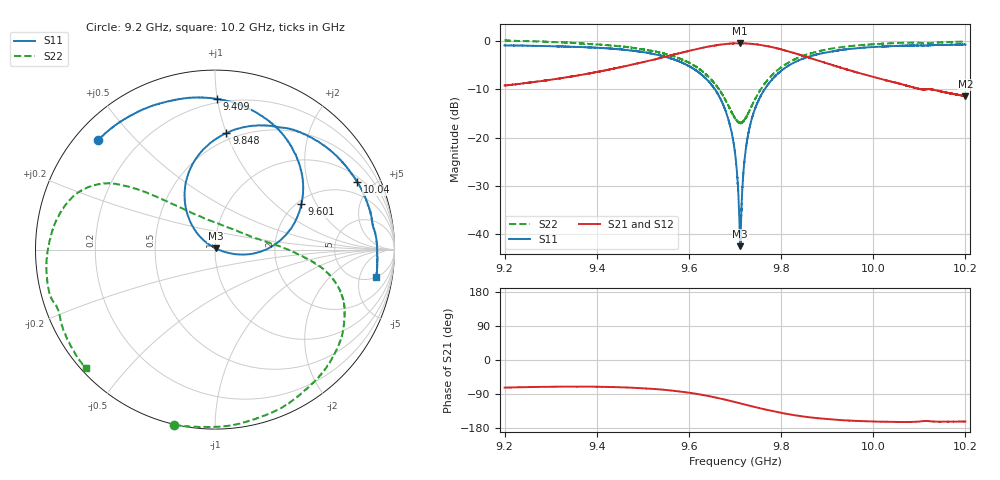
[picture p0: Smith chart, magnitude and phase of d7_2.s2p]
!Agilent Technologies,N5242A,MY51221714,A.09.90.19
!Agilent N5242A: A.09.90.19
!Date: Tuesday, March 26, 2024 16:20:55
!Correction: S11(Full 2 Port(1,2))
!S21(Full 2 Port(1,2))
!S12(Full 2 Port(1,2))
!S22(Full 2 Port(1,2))
!S2P File: Measurements: S11, S21, S12, S22:
# Hz S  dB  R 50
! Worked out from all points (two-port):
!   16001 points, 9.2 GHz to 10.2 GHz, reference 50 ohm
!   highest |S21| = -0.55 dB at 9.71 GHz (marker M1); lowest = -11.5 dB at 10.2 GHz (marker M2)
!   |S21| within 3 dB of the highest: 9.539399 GHz to 9.539603 GHz (203.6 kHz wide, 0.00213 % of centre); 9.54 GHz to 9.861 GHz (321.8 MHz wide, 3.32 % of centre)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
!   lowest |S11| = -42.4 dB at 9.711 GHz (marker M3), VSWR 1.02, Z = 50.4 + j0.637 ohm
!   |S11| at or under -10 dB: 9.655909 GHz to 9.656033 GHz (123.8 kHz wide, 0.00128 % of centre); 9.656 GHz to 9.765 GHz (108.7 MHz wide, 1.12 % of centre)
!   |S22| runs from -17.1 to 0.0 dB; largest |S21 - S12| = 0.013
!   S11 on the Smith chart (normalised r, x): 9.2 GHz: 0.07, +0.39; 9.409 GHz: 0.17, +1.00; 9.601 GHz: 2.12, +1.52; 9.848 GHz: 0.44, +1.00; 10.04 GHz: 1.26, +4.08; 10.2 GHz: 5, -9
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9.2e9  -0.99 137.0  -9.26 -72.9  -9.24 -73.7  0.02 -103.2
9.27875e9  -1.11 119.9  -8.36 -71.0  -8.35 -71.7  -0.20 -81.7
9.366688e9  -1.33 99.7  -7.07 -70.4  -7.05 -71.0  -0.60 -58.7
9.4085e9  -1.51 89.3  -6.31 -70.8  -6.32 -71.4  -0.84 -48.2
9.533375e9  -2.99 52.8  -3.70 -77.3  -3.68 -77.9  -2.36 -20.6
9.600688e9  -5.29 27.7  -2.12 -86.5  -2.10 -87.1  -4.57 -9.0
9.667062e9  -11.73 -2.1  -0.85 -101.4  -0.84 -101.9  -10.29 7.1
9.6875e9  -16.91 -11.0  -0.64 -107.2  -0.62 -107.8  -13.79 22.4
9.7e9  -23.16 -14.2  -0.58 -110.9  -0.56 -111.5  -15.96 42.1
9.710062e9  -39.09 16.8  -0.55 -114.0  -0.54 -114.6  -16.99 65.3
9.71125e9  -42.42 56.5  -0.57 -114.4  -0.55 -114.9  -17.05 68.0
9.714188e9  -34.11 130.6  -0.56 -115.3  -0.55 -115.8  -16.94 75.3
9.719812e9  -25.52 140.4  -0.58 -117.0  -0.56 -117.6  -16.46 89.2
9.725625e9  -20.95 139.8  -0.60 -118.8  -0.58 -119.3  -15.53 101.1
9.7465e9  -13.34 130.8  -0.79 -125.1  -0.77 -125.7  -11.55 125.2
9.787375e9  -7.32 111.2  -1.50 -136.4  -1.50 -137.0  -6.49 139.3
9.848125e9  -3.71 84.4  -3.14 -149.1  -3.14 -149.7  -3.12 148.0
9.866688e9  -3.13 77.3  -3.70 -152.0  -3.71 -152.4  -2.57 150.7
9.934438e9  -1.88 54.5  -5.72 -159.0  -5.72 -159.5  -1.31 161.8
1.003338e10  -1.17 27.4  -8.33 -163.0  -8.32 -163.7  -0.57 -178.0
1.004181e10  -1.14 25.3  -8.53 -163.2  -8.52 -163.7  -0.53 -176.1
1.02e10  -0.81 -9.6  -11.46 -162.2  -11.45 -162.8  -0.20 -137.5
